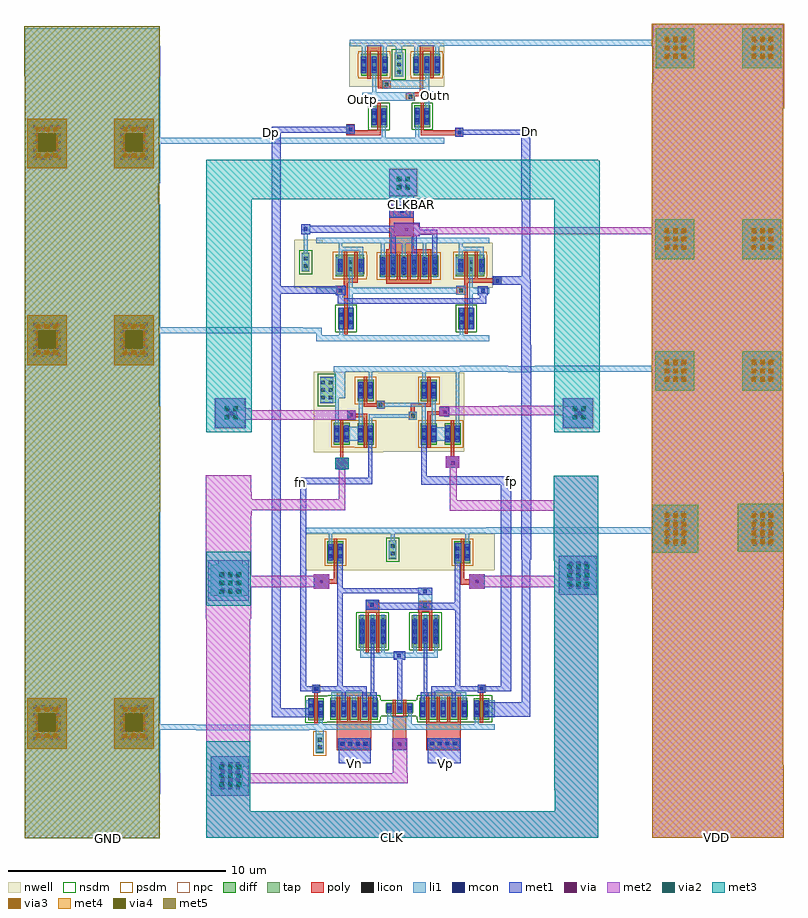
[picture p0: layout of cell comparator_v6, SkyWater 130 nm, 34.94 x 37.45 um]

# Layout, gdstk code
import gdstk
lib = gdstk.Library(unit=1e-6, precision=1e-09)
def R(c, l, rs):  # rectangles x0, y0, x1, y1
    for r in rs: c.add(gdstk.rectangle(r[:2], r[2:], *l))
def A(c, l, x, y, w, h, nx, ny, dx, dy):  # array of equal rectangles
    R(c, l, [(x+i*dx, y+j*dy, x+i*dx+w, y+j*dy+h) for i in range(nx) for j in range(ny)])
nwell = (64, 20)
diff = (65, 20)
tap = (65, 44)
poly = (66, 20)
licon = (66, 44)
li1 = (67, 20)
mcon = (67, 44)
met1 = (68, 20)
via = (68, 44)
met2 = (69, 20)
via2 = (69, 44)
met3 = (70, 20)
via3 = (70, 44)
met4 = (71, 20)
via4 = (71, 44)
met5 = (72, 20)
nsdm = (93, 44)
psdm = (94, 20)
npc = (95, 20)

sky130_fd_pr__pfet_01v8_ = lib.new_cell('sky130_fd_pr__pfet_01v8_RFM3CD#0')
R(sky130_fd_pr__pfet_01v8_, nwell, [(-0.545,-0.81,0.545,0.81)])
R(sky130_fd_pr__pfet_01v8_, diff, [(-0.365,-0.5,0.365,0.5)])
R(sky130_fd_pr__pfet_01v8_, poly, [(-0.075,-0.63,0.075,0.63)])
R(sky130_fd_pr__pfet_01v8_, licon, [(-0.305,-0.255,-0.135,-0.085), (0.135,-0.255,0.305,-0.085), (-0.305,0.085,-0.135,0.255), (0.135,0.085,0.305,0.255)])
R(sky130_fd_pr__pfet_01v8_, li1, [(-0.305,-0.39,-0.135,0.39), (0.135,-0.39,0.305,0.39)])
R(sky130_fd_pr__pfet_01v8_, mcon, [(-0.305,-0.265,-0.135,-0.095), (0.135,-0.265,0.305,-0.095), (-0.305,0.095,-0.135,0.265), (0.135,0.095,0.305,0.265)])
R(sky130_fd_pr__pfet_01v8_, met1, [(-0.335,-0.37,-0.105,0.37), (0.105,-0.37,0.335,0.37)])
R(sky130_fd_pr__pfet_01v8_, psdm, [(-0.49,-0.625,0.49,0.625)])

sky130_fd_pr__nfet_01v8_ = lib.new_cell('sky130_fd_pr__nfet_01v8_XJTKXQ#0#0')

preamp_part22 = lib.new_cell('preamp_part22')
R(preamp_part22, nwell, [(1.48,1.51,5.49,1.53), (0.39,1.53,5.49,3.13), (0.39,3.13,6.58,5.13), (0.39,5.13,5.49,5.14), (0.39,5.14,1.63,5.17)])
R(preamp_part22, poly, [(4.05,2.97,4.38,3.35), (4.12,3.35,4.3,3.57), (2.56,3.5,2.89,3.58), (4.12,3.57,5.02,3.72), (1.96,3.58,2.89,3.74), (2.56,3.74,2.89,3.83)])
R(preamp_part22, licon, [(4.125,3.07,4.295,3.24), (2.64,3.58,2.81,3.75)])
R(preamp_part22, li1, [(1.07,2.01,1.9,2.65), (5.08,2.01,5.9,2.63), (4.62,2.56,4.81,3.58), (1.73,2.65,1.9,3.98), (5.08,2.68,5.25,3.95), (2.17,2.69,2.34,3.06), (4.05,2.97,4.38,3.06), (2.17,3.06,4.38,3.23), (4.05,3.23,4.38,3.35), (2.56,3.5,2.89,3.58), (2.56,3.58,4.81,3.75), (2.56,3.75,2.89,3.83), (4.64,4.66,4.81,5.17), (2.17,4.69,2.34,5.17), (0.58,5.17,6.41,5.44)])
R(preamp_part22, psdm, [(5.435,1.695,5.545,2.945), (1.425,1.705,1.545,2.945)])
R(preamp_part22, npc, [(4.025,2.97,4.395,3.34), (2.54,3.48,2.91,3.85)])
preamp_part22.add(gdstk.Reference(sky130_fd_pr__pfet_01v8_, (4.945,4.32)))
preamp_part22.add(gdstk.Reference(sky130_fd_pr__pfet_01v8_, (2.035,4.32)))
preamp_part22.add(gdstk.Reference(sky130_fd_pr__pfet_01v8_, (6.035,2.32)))
preamp_part22.add(gdstk.Reference(sky130_fd_pr__pfet_01v8_, (0.935,2.33)))
preamp_part22.add(gdstk.Reference(sky130_fd_pr__pfet_01v8_, (4.945,2.32)))
preamp_part22.add(gdstk.Reference(sky130_fd_pr__pfet_01v8_, (2.035,2.32)))
preamp_part22.add(gdstk.Reference(sky130_fd_pr__nfet_01v8_, (4.875,1.73)))
preamp_part22.add(gdstk.Reference(sky130_fd_pr__nfet_01v8_, (2.215,1.73)))

c_sky130_fd_pr__nfet_01v8_ = lib.new_cell('sky130_fd_pr__nfet_01v8_RURP52')
R(c_sky130_fd_pr__nfet_01v8_, diff, [(-0.625,-1.74,0.625,-0.24)])
R(c_sky130_fd_pr__nfet_01v8_, poly, [(-0.315,-1.85,-0.165,-0.13), (0.165,-1.85,0.315,-0.13)])
A(c_sky130_fd_pr__nfet_01v8_, licon, -0.565, -1.585, 0.17, 0.17, 3, 4, 0.48, 0.34)
A(c_sky130_fd_pr__nfet_01v8_, li1, -0.565, -1.76, 0.17, 1.54, 3, 1, 0.48, 0)
A(c_sky130_fd_pr__nfet_01v8_, mcon, -0.565, -1.435, 0.17, 0.17, 3, 3, 0.48, 0.36)
A(c_sky130_fd_pr__nfet_01v8_, met1, -0.595, -1.535, 0.23, 1.09, 3, 1, 0.48, 0)
R(c_sky130_fd_pr__nfet_01v8_, nsdm, [(-0.75,-1.865,0.75,-0.115)])

c_sky130_fd_pr__nfet_01v8__ = lib.new_cell('sky130_fd_pr__nfet_01v8_G6PLX8')
R(c_sky130_fd_pr__nfet_01v8__, diff, [(-1.085,-2.5,1.085,-2.37), (-1.105,-2.37,1.105,-1.63), (-1.085,-1.63,1.085,-1.5)])
A(c_sky130_fd_pr__nfet_01v8__, poly, -0.795, -2.61, 0.15, 1.21, 4, 1, 0.48, 0)
R(c_sky130_fd_pr__nfet_01v8__, poly, [(-0.795,-1.4,0.795,-1.25)])
A(c_sky130_fd_pr__nfet_01v8__, licon, -1.045, -2.255, 0.17, 0.17, 5, 2, 0.48, 0.34)
A(c_sky130_fd_pr__nfet_01v8__, li1, -1.045, -2.39, 0.17, 0.78, 5, 1, 0.48, 0)
A(c_sky130_fd_pr__nfet_01v8__, mcon, -1.045, -2.265, 0.17, 0.17, 5, 2, 0.48, 0.36)
A(c_sky130_fd_pr__nfet_01v8__, met1, -1.075, -2.37, 0.23, 0.74, 5, 1, 0.48, 0)
R(c_sky130_fd_pr__nfet_01v8__, nsdm, [(-1.21,-2.625,1.21,-2.495), (-1.23,-2.495,1.23,-1.505), (-1.21,-1.505,1.21,-1.375)])

c_sky130_fd_pr__nfet_01v8___ = lib.new_cell('sky130_fd_pr__nfet_01v8_F5U58G#1')
R(c_sky130_fd_pr__nfet_01v8___, diff, [(-0.365,-2.5,0.365,-1.5)])
R(c_sky130_fd_pr__nfet_01v8___, poly, [(-0.075,-2.63,0.075,-1.37)])
R(c_sky130_fd_pr__nfet_01v8___, licon, [(-0.305,-2.255,-0.135,-2.085), (0.135,-2.255,0.305,-2.085), (-0.305,-1.915,-0.135,-1.745), (0.135,-1.915,0.305,-1.745)])
R(c_sky130_fd_pr__nfet_01v8___, li1, [(-0.305,-2.39,-0.135,-1.61), (0.135,-2.39,0.305,-1.61)])
R(c_sky130_fd_pr__nfet_01v8___, mcon, [(-0.305,-2.265,-0.135,-2.095), (0.135,-2.265,0.305,-2.095), (-0.305,-1.905,-0.135,-1.735), (0.135,-1.905,0.305,-1.735)])
R(c_sky130_fd_pr__nfet_01v8___, met1, [(-0.335,-2.37,-0.105,-1.63), (0.105,-2.37,0.335,-1.63)])
R(c_sky130_fd_pr__nfet_01v8___, nsdm, [(-0.49,-2.625,0.49,-1.375)])

c_sky130_fd_pr__nfet_01v8____ = lib.new_cell('sky130_fd_pr__nfet_01v8_8FHE5N')
R(c_sky130_fd_pr__nfet_01v8____, diff, [(-0.605,-2.25,0.605,-2.195), (-0.625,-2.195,0.625,-1.805), (-0.605,-1.805,0.605,-1.75)])
R(c_sky130_fd_pr__nfet_01v8____, poly, [(-0.315,-2.38,-0.165,-1.62), (0.165,-2.38,0.315,-1.62)])
A(c_sky130_fd_pr__nfet_01v8____, licon, -0.565, -2.085, 0.17, 0.17, 3, 1, 0.48, 0)
A(c_sky130_fd_pr__nfet_01v8____, li1, -0.565, -2.215, 0.17, 0.43, 3, 1, 0.48, 0)
A(c_sky130_fd_pr__nfet_01v8____, mcon, -0.565, -2.085, 0.17, 0.17, 3, 1, 0.48, 0)
A(c_sky130_fd_pr__nfet_01v8____, met1, -0.595, -2.195, 0.23, 0.39, 3, 1, 0.48, 0)
R(c_sky130_fd_pr__nfet_01v8____, nsdm, [(-0.73,-2.375,0.73,-2.32), (-0.75,-2.32,0.75,-1.68), (-0.73,-1.68,0.73,-1.625)])

preamp_part12 = lib.new_cell('preamp_part12')
R(preamp_part12, nwell, [(-3.6,4.97,5.09,6.64)])
A(preamp_part12, poly, 1.94, -2.01, 0.15, 0.03, 4, 1, 0.48, 0)
A(preamp_part12, poly, -2.17, -1.98, 0.15, 0.01, 4, 1, 0.48, 0)
R(preamp_part12, poly, [(-2.17,-3.3,-0.58,-1.98), (1.94,-3.3,3.53,-2.01), (0.4,-3.29,1.03,-1.71), (4.41,-0.83,4.56,-0.65), (-3.2,-0.79,-3.05,-0.66), (-3.28,-0.66,-2.97,-0.29), (4.32,-0.65,4.63,-0.28), (-0.84,1.17,-0.69,1.32), (-0.36,1.18,-0.21,1.33), (1.59,1.28,1.74,1.32), (2.07,1.28,2.22,1.32), (2.07,2.94,2.22,3.07), (1.59,3.01,1.74,3.07), (-0.84,3.02,-0.21,3.6), (1.58,3.07,2.23,3.57), (3.53,4.31,3.9,4.55), (-2.53,4.35,-2.16,4.56), (3.53,4.55,3.69,5.2), (-2.31,4.56,-2.16,5.2)])
A(preamp_part12, licon, -1.97, -3.09, 0.17, 0.17, 4, 1, 0.34, 0)
A(preamp_part12, licon, 2.14, -3.08, 0.17, 0.17, 4, 1, 0.34, 0)
R(preamp_part12, licon, [(0.625,-3.105,0.795,-2.935), (-3.2,-0.56,-3.03,-0.39), (4.4,-0.55,4.57,-0.38), (1.805,3.26,1.975,3.43), (-0.635,3.3,-0.465,3.47)])
R(preamp_part12, li1, [(0.39,-3.3,1.03,-2.76), (-2.11,-3.26,-0.64,-2.75), (1.99,-3.25,3.48,-2.74), (-3.6,-2.37,5.1,-2.11), (-2.99,-2.11,-2.82,-1.74), (0.15,-2.11,1.28,-1.76), (4.18,-2.11,4.35,-1.73), (4.77,-1.79,5.1,-1.01), (-3.59,-1.78,-3.26,-1), (0.15,-1.76,0.33,-1.56), (1.11,-1.76,1.28,-1.57), (0.61,-1.565,0.83,-1.26), (-2.42,-1.06,-2.25,-0.81), (-0.5,-1.05,-0.33,-0.81), (1.69,-1.04,1.86,-0.81), (3.61,-1.04,3.78,-0.81), (-1.46,-1.03,-1.29,-0.81), (2.65,-1.03,2.82,-0.81), (-2.42,-0.81,-0.33,-0.64), (1.69,-0.81,3.78,-0.64), (-3.28,-0.66,-2.97,-0.29), (4.32,-0.65,4.63,-0.28), (0.46,0.9,0.91,0.96), (-1.09,0.96,2.47,1.17), (-1.09,1.17,-0.92,2.74), (-0.13,1.17,0.04,2.73), (0.46,1.17,0.91,1.21), (1.34,1.17,1.51,1.4), (2.3,1.17,2.47,1.48), (1.58,3.17,2.23,3.18), (1.57,3.18,2.23,3.57), (-0.82,3.19,-0.28,3.58), (1.57,3.57,2.21,4.16), (-2.54,6.04,-2.37,6.68), (3.74,6.05,3.91,6.68), (-3.6,6.68,5.1,6.93)])
A(preamp_part12, mcon, -2, -3.085, 0.17, 0.17, 4, 1, 0.36, 0)
A(preamp_part12, mcon, 2.11, -3.08, 0.17, 0.17, 4, 1, 0.36, 0)
R(preamp_part12, mcon, [(0.63,-3.105,0.8,-2.935), (-3.205,-0.56,-3.035,-0.39), (4.395,-0.55,4.565,-0.38), (0.605,0.965,0.775,1.135), (-0.63,3.295,-0.46,3.465), (1.805,3.92,1.975,4.09)])
R(preamp_part12, met1, [(0.39,-3.29,1.03,-2.76), (-2.11,-3.27,-0.64,-2.75), (1.99,-3.25,3.48,-2.74), (0.6,-1.42,0.83,0.86), (-0.52,-1.31,-0.33,-0.82), (-0.99,-1.25,-0.8,-0.58), (-1.95,-1.23,-1.76,-0.58), (1.69,-1.1,1.87,-0.81), (2.17,-1.06,2.35,-0.58), (-3.46,-1.05,-3.24,-0.94), (3.12,-1.04,3.3,-0.58), (-0.64,-0.82,-0.33,-0.64), (1.69,-0.81,2.03,-0.64), (-3.28,-0.66,-2.97,-0.58), (4.32,-0.65,4.63,-0.58), (-0.61,-0.64,-0.44,2.34), (1.82,-0.64,1.99,1.75), (-3.59,-0.58,-0.8,-0.37), (2.17,-0.58,5.1,-0.37), (-3.28,-0.37,-2.97,-0.29), (-2.15,-0.37,-0.8,-0.35), (3.27,-0.37,3.51,3.25), (4.32,-0.37,4.63,-0.28), (-2.15,-0.35,-1.9,3.91), (0.44,0.86,0.97,1.25), (-0.84,3.15,-0.23,3.25), (-0.84,3.25,3.51,3.49), (-0.84,3.49,-0.23,3.61), (3.27,3.49,3.51,5.66), (1.57,3.85,2.21,3.91), (-2.15,3.91,2.21,4.05), (-2.14,4.05,2.21,4.15), (-2.14,4.15,-1.9,5.52), (1.57,4.15,2.21,4.16)])
R(preamp_part12, nsdm, [(-2.635,-2.015,-2.585,-1.885), (3.945,-2.015,3.995,-1.885), (-2.635,-1.885,-2.605,-0.895), (3.965,-1.885,3.995,-0.895), (-0.145,-1.745,-0.015,-1.69), (1.445,-1.745,1.505,-1.69), (-0.145,-1.69,-0.035,-1.05), (1.465,-1.69,1.505,-1.05), (-0.145,-1.05,-0.015,-0.995), (1.445,-1.05,1.505,-0.995), (-2.635,-0.895,-2.585,-0.795), (3.945,-0.895,3.995,-0.775)])
R(preamp_part12, npc, [(0.525,-3.205,0.895,-2.835), (-2.07,-3.19,-0.68,-2.82), (2.04,-3.18,3.43,-2.81), (-3.3,-0.66,-2.93,-0.29), (4.3,-0.65,4.67,-0.28), (1.705,3.16,2.075,3.53), (-0.735,3.2,-0.365,3.57)])
preamp_part12.add(gdstk.Reference(sky130_fd_pr__pfet_01v8_, (3.605,5.8)))
preamp_part12.add(gdstk.Reference(sky130_fd_pr__pfet_01v8_, (-2.235,5.8)))
preamp_part12.add(gdstk.Reference(c_sky130_fd_pr__nfet_01v8_, (1.905,3.15)))
preamp_part12.add(gdstk.Reference(c_sky130_fd_pr__nfet_01v8_, (-0.525,3.15)))
preamp_part12.add(gdstk.Reference(c_sky130_fd_pr__nfet_01v8__, (2.735,0.61)))
preamp_part12.add(gdstk.Reference(c_sky130_fd_pr__nfet_01v8__, (-1.375,0.61)))
preamp_part12.add(gdstk.Reference(c_sky130_fd_pr__nfet_01v8___, (4.485,0.6)))
preamp_part12.add(gdstk.Reference(c_sky130_fd_pr__nfet_01v8___, (-3.125,0.58)))
preamp_part12.add(gdstk.Reference(c_sky130_fd_pr__nfet_01v8____, (0.715,0.63)))

c_sky130_fd_pr__pfet_01v8_ = lib.new_cell('sky130_fd_pr__pfet_01v8_GJYUB2')
R(c_sky130_fd_pr__pfet_01v8_, nwell, [(-1.525,-1,1.525,-0.99), (-1.525,-0.99,-1.355,-0.64), (1.495,-0.99,1.525,-0.64), (-1.525,-0.64,1.525,0.65), (-1.525,0.65,-1.235,0.81), (1.485,0.65,1.525,0.81)])
R(c_sky130_fd_pr__pfet_01v8_, diff, [(-1.345,-0.5,1.345,0.5)])
A(c_sky130_fd_pr__pfet_01v8_, poly, -1.035, -0.64, 0.15, 1.27, 3, 1, 0.96, 0)
R(c_sky130_fd_pr__pfet_01v8_, poly, [(-0.555,-0.63,-0.405,0.65), (0.405,-0.63,0.555,0.65)])
A(c_sky130_fd_pr__pfet_01v8_, licon, -1.285, -0.425, 0.17, 0.17, 6, 3, 0.48, 0.34)
A(c_sky130_fd_pr__pfet_01v8_, li1, -1.285, -0.52, 0.17, 1.04, 6, 1, 0.48, 0)
A(c_sky130_fd_pr__pfet_01v8_, mcon, -1.285, -0.265, 0.17, 0.17, 6, 2, 0.48, 0.36)
A(c_sky130_fd_pr__pfet_01v8_, met1, -1.315, -0.37, 0.23, 0.74, 6, 1, 0.48, 0)
R(c_sky130_fd_pr__pfet_01v8_, psdm, [(-1.47,-0.625,1.47,0.625)])

pmos_2uf2_0 = lib.new_cell('pmos_2uf2#0')
R(pmos_2uf2_0, nwell, [(-1.595,-1.01,0.845,1.02)])
R(pmos_2uf2_0, diff, [(-0.695,-0.5,0.605,-0.37), (-0.695,-0.37,0.625,0.37), (-0.695,0.37,0.605,0.5)])
R(pmos_2uf2_0, poly, [(-0.315,-0.65,-0.165,0.63), (0.165,-0.65,0.315,0.63)])
A(pmos_2uf2_0, licon, -0.565, -0.255, 0.17, 0.17, 3, 2, 0.48, 0.34)
R(pmos_2uf2_0, li1, [(-0.695,-0.39,-0.395,0.39), (-0.085,-0.39,0.085,0.39), (0.395,-0.39,0.565,0.39)])
R(pmos_2uf2_0, mcon, [(-0.565,-0.085,-0.395,0.085), (0.395,-0.085,0.565,0.085)])
R(pmos_2uf2_0, met1, [(-0.595,-0.28,-0.365,0.28), (0.365,-0.28,0.595,0.28)])
R(pmos_2uf2_0, psdm, [(-0.82,-0.625,0.73,-0.495), (-0.82,-0.495,0.75,0.495), (-0.82,0.495,0.73,0.625)])

c_sky130_fd_pr__nfet_01v8_____ = lib.new_cell('sky130_fd_pr__nfet_01v8_7RYEVP')
R(c_sky130_fd_pr__nfet_01v8_____, diff, [(-0.365,-0.345,0.365,0.655)])
R(c_sky130_fd_pr__nfet_01v8_____, poly, [(-0.075,-0.445,0.075,0.785)])
R(c_sky130_fd_pr__nfet_01v8_____, licon, [(-0.305,-0.1,-0.135,0.07), (0.135,-0.1,0.305,0.07), (-0.305,0.24,-0.135,0.41), (0.135,0.24,0.305,0.41)])
R(c_sky130_fd_pr__nfet_01v8_____, li1, [(-0.305,-0.285,-0.135,0.595), (0.135,-0.285,0.305,0.595)])
R(c_sky130_fd_pr__nfet_01v8_____, mcon, [(-0.305,-0.11,-0.135,0.06), (0.135,-0.11,0.305,0.06), (-0.305,0.25,-0.135,0.42), (0.135,0.25,0.305,0.42)])
R(c_sky130_fd_pr__nfet_01v8_____, met1, [(-0.335,-0.345,-0.105,0.655), (0.105,-0.345,0.335,0.655)])
R(c_sky130_fd_pr__nfet_01v8_____, nsdm, [(-0.49,-0.47,0.49,0.78)])

nmos_1u_0 = lib.new_cell('nmos_1u#0')
nmos_1u_0.add(gdstk.Reference(c_sky130_fd_pr__nfet_01v8_____, (0.315,0.715)))

inv_w12 = lib.new_cell('inv_W12')
R(inv_w12, poly, [(0.8,0.31,0.95,0.34), (0.8,1.21,0.95,1.76), (0.42,1.76,0.95,2.18), (0.78,2.18,0.95,2.33), (0.78,2.33,1.41,2.53)])
R(inv_w12, licon, [(0.54,1.88,0.71,2.05)])
R(inv_w12, li1, [(-0.5,-0.36,1.94,-0.1), (0.57,-0.1,0.74,0.58), (1.01,1.3,1.18,1.82), (0.42,1.76,0.84,1.82), (-0.5,1.82,0.84,2.1), (1.01,1.82,1.94,2.1), (0.42,2.1,0.84,2.18), (1.01,2.1,1.18,2.78), (0.53,2.89,0.7,3.79), (1.49,3.42,1.67,3.79), (0.53,3.79,1.67,3.97), (0.53,3.97,0.7,4.14), (-0.5,4.14,1.94,4.39)])
R(inv_w12, npc, [(0.44,1.78,0.81,2.15)])
inv_w12.add(gdstk.Reference(pmos_2uf2_0, (1.095,3.11)))
inv_w12.add(gdstk.Reference(nmos_1u_0, (0.56,-0.19)))
inv_w12.add(gdstk.Label('Vin', (-0.5,1.95), layer=67, texttype=5))
inv_w12.add(gdstk.Label('Vout', (1.94,1.96), layer=67, texttype=5))
inv_w12.add(gdstk.Label('VDD', (-0.5,4.27), layer=67, texttype=5))
inv_w12.add(gdstk.Label('GND', (-0.5,-0.23), layer=67, texttype=5))

latch_3 = lib.new_cell('latch_3')
R(latch_3, nwell, [(-0.08,2.46,8.13,2.76), (-0.08,2.76,5.89,4.19), (6.24,2.76,8.13,4.19), (-0.08,4.19,8.13,4.51)])
R(latch_3, poly, [(1.3,0.32,1.45,0.49), (6.83,0.33,6.98,0.46), (3.23,2.64,5.3,2.82), (3.23,4.04,5.3,4.22)])
A(latch_3, li1, 2.98, 3.73, 0.17, 0.77, 3, 1, 0.96, 0)
R(latch_3, li1, [(2.37,0,5.72,0.26), (1.51,1.22,1.68,1.74), (7.04,1.27,7.21,1.88), (0.96,2.17,1.29,2.49), (2.4,2.18,5.6,2.46), (7.52,2.19,7.82,2.44), (2.26,4.5,5.7,4.75)])
R(latch_3, mcon, [(7.585,2.23,7.755,2.4), (1.04,2.245,1.21,2.415)])
A(latch_3, met1, 3.43, 3.67, 0.23, 1.22, 3, 1, 0.96, 0)
R(latch_3, met1, [(0.99,1.71,7.83,1.96), (0.99,1.96,1.25,2.1), (7.52,1.96,7.83,2.1), (0.9,2.1,1.36,2.55), (7.43,2.1,7.89,2.53), (3.43,4.89,5.58,5.11)])
latch_3.add(gdstk.Reference(c_sky130_fd_pr__pfet_01v8_, (4.265,3.45)))
latch_3.add(gdstk.Reference(inv_w12, (0.5,0.36)))
latch_3.add(gdstk.Reference(inv_w12, (6.03,0.36)))

c_sky130_fd_pr__pfet_01v8__ = lib.new_cell('sky130_fd_pr__pfet_01v8_AC5E9B')
R(c_sky130_fd_pr__pfet_01v8__, nwell, [(-0.805,-1,0.325,-0.81), (-0.805,-0.81,0.805,0.81), (-0.325,0.81,0.805,1)])
R(c_sky130_fd_pr__pfet_01v8__, diff, [(-0.605,-0.5,0.605,-0.37), (-0.625,-0.37,0.625,0.37), (-0.605,0.37,0.605,0.5)])
R(c_sky130_fd_pr__pfet_01v8__, poly, [(-0.315,-0.65,-0.165,0.63), (0.165,-0.63,0.315,0.65)])
A(c_sky130_fd_pr__pfet_01v8__, licon, -0.565, -0.255, 0.17, 0.17, 3, 2, 0.48, 0.34)
A(c_sky130_fd_pr__pfet_01v8__, li1, -0.565, -0.39, 0.17, 0.78, 3, 1, 0.48, 0)
A(c_sky130_fd_pr__pfet_01v8__, mcon, -0.565, -0.265, 0.17, 0.17, 3, 2, 0.48, 0.36)
A(c_sky130_fd_pr__pfet_01v8__, met1, -0.595, -0.37, 0.23, 0.74, 3, 1, 0.48, 0)
R(c_sky130_fd_pr__pfet_01v8__, psdm, [(-0.73,-0.625,0.73,-0.495), (-0.75,-0.495,0.75,0.495), (-0.73,0.495,0.73,0.625)])

c_sky130_fd_pr__nfet_01v8______ = lib.new_cell('sky130_fd_pr__nfet_01v8_F5U58G')
R(c_sky130_fd_pr__nfet_01v8______, diff, [(-0.365,-0.5,0.365,0.5)])
R(c_sky130_fd_pr__nfet_01v8______, poly, [(-0.075,-0.63,0.075,0.63)])
R(c_sky130_fd_pr__nfet_01v8______, licon, [(-0.305,-0.255,-0.135,-0.085), (0.135,-0.255,0.305,-0.085), (-0.305,0.085,-0.135,0.255), (0.135,0.085,0.305,0.255)])
R(c_sky130_fd_pr__nfet_01v8______, li1, [(-0.305,-0.39,-0.135,0.39), (0.135,-0.39,0.305,0.39)])
R(c_sky130_fd_pr__nfet_01v8______, mcon, [(-0.305,-0.265,-0.135,-0.095), (0.135,-0.265,0.305,-0.095), (-0.305,0.095,-0.135,0.265), (0.135,0.095,0.305,0.265)])
R(c_sky130_fd_pr__nfet_01v8______, met1, [(-0.335,-0.37,-0.105,0.37), (0.105,-0.37,0.335,0.37)])
R(c_sky130_fd_pr__nfet_01v8______, nsdm, [(-0.49,-0.625,0.49,0.625)])

sr_latch = lib.new_cell('SR_latch')
R(sr_latch, nwell, [(0,2.62,4.36,4.63)])
R(sr_latch, poly, [(2.59,1.96,3.01,2.17), (2.59,2.17,3.39,2.37), (3.24,2.37,3.39,3.03), (1.31,2.54,1.9,2.88), (1.31,2.88,1.46,3.05), (0.83,4.24,1.46,4.51), (3.24,4.24,3.87,4.51)])
R(sr_latch, licon, [(2.72,2.065,2.89,2.235), (1.62,2.63,1.79,2.8)])
R(sr_latch, li1, [(0,0,4.36,0.26), (1.49,0.26,1.68,0.92), (3.03,0.26,3.22,0.97), (1.06,1.36,1.24,1.96), (3.48,1.58,3.66,2.52), (1.06,1.96,2.99,2.35), (1.06,2.35,1.24,3.26), (1.53,2.52,3.66,2.92), (3.48,2.92,3.66,3.48), (2.98,3.83,3.16,4.48), (3.95,3.84,4.13,4.48), (0.57,3.87,0.76,4.48), (1.54,3.88,1.72,4.48), (0.01,4.48,4.36,4.74)])
R(sr_latch, npc, [(2.62,1.965,2.99,2.335), (1.52,2.53,1.89,2.9)])
sr_latch.add(gdstk.Reference(c_sky130_fd_pr__pfet_01v8__, (3.555,3.63)))
sr_latch.add(gdstk.Reference(c_sky130_fd_pr__pfet_01v8__, (1.145,3.62)))
sr_latch.add(gdstk.Reference(c_sky130_fd_pr__nfet_01v8______, (3.345,1.25)))
sr_latch.add(gdstk.Reference(c_sky130_fd_pr__nfet_01v8______, (1.365,1.24)))
sr_latch.add(gdstk.Label('VDD', (4.36,4.67), layer=67, texttype=5))
sr_latch.add(gdstk.Label('GND', (4.35,0.13), layer=67, texttype=5))

comparator_v6 = lib.new_cell('comparator_v6')
R(comparator_v6, nwell, [(3.67,2.87,4.33,4.13), (0.32,8.08,3.53,8.28), (0.32,8.28,1.32,8.4), (1.95,8.28,2.23,8.31), (1.95,8.31,3.28,8.4), (0.32,8.4,3.28,9.61), (5.55,9.51,5.7,9.8), (0.32,9.61,1.96,9.66), (2.32,9.61,3.28,9.97), (0.32,9.66,1.67,9.9), (6.1,9.67,6.58,9.8), (5.55,9.8,6.58,9.82), (5.55,9.82,6.55,9.96), (0.32,9.9,1.96,9.97), (6.1,9.96,6.55,10.04), (0.32,9.97,3.28,11.52), (6.1,10.04,6.58,10.23), (0.32,11.52,1.79,11.77), (2.2,11.52,3.28,11.77), (0.32,11.77,3.28,11.78), (0.32,11.78,1.59,11.79), (-0.57,15.65,0.64,15.74), (-0.57,15.74,8.43,17.56), (-0.57,17.56,0.74,17.84), (3.91,25.26,4.7,26.68)])
R(comparator_v6, tap, [(0.43,-5.75,0.79,-4.87), (3.79,3.17,4.13,4.03), (0.63,10.32,1.22,11.56), (-0.21,16.38,0.13,17.24), (4.05,25.33,4.44,26.47)])
R(comparator_v6, poly, [(0.34,1.8,1.04,2.48), (7.48,1.8,8.18,1.99), (7.35,1.99,8.18,2.23), (7.48,2.23,8.18,2.48), (1.33,7.29,1.94,7.83), (6.41,7.36,7.02,7.9), (1.54,7.83,1.69,8.38), (6.64,7.9,6.79,8.3), (5.55,8.28,5.7,8.31), (2.64,8.31,2.79,8.32), (2.64,9.33,2.79,9.69), (5.55,9.51,5.7,9.8), (1.9,9.61,2.26,9.69), (1.9,9.69,2.79,9.85), (6.18,9.76,6.54,9.8), (5.55,9.8,6.54,9.96), (1.9,9.85,2.26,9.97), (6.18,9.96,6.54,10.12), (1.74,13.51,1.89,13.66), (7.27,13.55,7.42,13.67), (8.61,15.78,8.96,15.88), (7.83,15.88,8.96,16.08), (8.61,16.08,8.96,16.15), (3.8,17.39,4.92,19.45), (6.84,22.59,7.21,22.66), (1.83,22.66,3.41,22.89), (5.24,22.66,7.21,22.89), (1.83,22.89,2.21,23.15), (6.84,22.89,7.21,23), (3.26,24.06,3.41,24.1)])
A(comparator_v6, licon, 0.67, 10.515, 0.17, 0.17, 1, 3, 0, 0.34)
A(comparator_v6, licon, 1.01, 10.515, 0.17, 0.17, 1, 3, 0, 0.34)
A(comparator_v6, licon, 4.16, 25.475, 0.17, 0.17, 1, 3, 0, 0.34)
R(comparator_v6, licon, [(0.525,-5.565,0.695,-5.395), (0.525,-5.225,0.695,-5.055), (0.605,2.05,0.775,2.22), (7.745,2.05,7.915,2.22), (3.875,3.345,4.045,3.515), (3.875,3.685,4.045,3.855), (1.54,7.47,1.71,7.64), (6.625,7.48,6.795,7.65), (1.985,9.69,2.155,9.86), (6.265,9.84,6.435,10.01), (8.7,15.88,8.87,16.05), (-0.125,16.555,0.045,16.725), (-0.125,16.895,0.045,17.065), (4.305,19.08,4.475,19.25), (6.94,22.695,7.11,22.865), (1.94,22.825,2.11,22.995)])
R(comparator_v6, li1, [(-12.96,-9.67,-6.75,-7.65), (15.9,-9.65,21.93,-6.29), (-4.4,-7.71,-2.65,-7.24), (-12.96,-7.65,-6.73,-4.69), (-4.4,-7.24,-2.94,-6.38), (-4.4,-6.38,-2.65,-5.89), (15.9,-6.29,21.92,0.83), (0.43,-5.71,0.79,-4.62), (-5.08,-4.7,0.13,-4.69), (-12.96,-4.69,0.13,-4.44), (0.6,-4.62,0.79,-4.48), (-12.96,-4.44,-5.08,-4.43), (-12.96,-4.43,-6.73,13.55), (15.89,0.83,21.94,1.8), (-4.06,1.46,-2.94,1.47), (-4.4,1.47,-2.65,2.91), (11.6,1.52,13.35,1.7), (11.59,1.7,13.35,1.99), (0.34,1.8,1.04,2.48), (7.48,1.8,8.18,2.48), (15.87,1.8,21.94,4.33), (11.6,1.99,13.35,3.33), (-4.06,2.91,-2.94,3.12), (3.79,3.21,4.13,3.99), (3.86,3.99,4.05,4.52), (14.11,4.33,21.94,4.34), (8.25,4.34,21.94,4.62), (8.25,4.62,10.87,4.63), (15.87,4.62,21.94,7.16), (15.87,7.16,21.92,11.78), (1.33,7.29,1.94,7.83), (6.41,7.36,6.58,7.39), (6.81,7.36,7.02,7.39), (6.41,7.39,7.02,7.9), (-4.19,9.19,-2.8,9.58), (6.85,9.19,7.02,11.89), (11.81,9.19,13.19,9.72), (1.31,9.29,1.48,10.36), (-4.19,9.58,-3.22,10), (1.93,9.58,2.24,10), (6.33,9.72,6.55,9.73), (12.32,9.72,13.19,10.16), (6.1,9.73,6.55,10.15), (-4.19,10,-2.8,10.57), (6.33,10.15,6.55,10.16), (11.81,10.16,13.19,10.57), (0.63,10.36,1.48,10.55), (0.63,10.55,1.79,11.52), (1.27,11.52,1.79,11.77), (9.27,11.76,10.29,11.77), (1.27,11.77,2.18,11.93), (7.04,11.77,15.64,11.78), (7.04,11.78,21.92,12.04), (1.72,11.93,2.18,12.04), (7.04,12.04,9.27,12.05), (10.49,12.04,21.92,12.05), (15.67,12.05,21.92,12.06), (15.87,12.06,21.92,25.05), (0.44,13.34,0.73,13.44), (0.44,13.44,0.69,13.55), (-6.16,13.54,-1.85,13.55), (-12.96,13.55,0.69,13.81), (-12.96,13.81,-0.17,13.82), (-12.96,13.82,-6.73,19.48), (8.62,15.8,8.95,16.13), (-0.21,16.42,0.13,17.2), (-0.14,17.2,0.05,18.11), (-0.25,18.11,0.16,18.55), (3.99,18.89,4.77,19.46), (-12.96,19.48,-6.81,20.45), (-12.96,20.45,-6.73,22.27), (-12.96,22.27,2.12,22.54), (-12.96,22.54,-6.73,26.76), (6.84,22.59,7.21,23), (1.84,22.72,2.21,23.13), (2.57,24.26,3.88,24.6), (5.45,24.31,5.95,24.68), (15.94,25.05,21.92,26.76), (4.05,25.37,4.44,26.43), (4.11,26.43,4.4,26.87), (-12.96,26.76,-6.75,27.57), (5.74,26.76,21.92,26.99), (1.98,26.99,21.92,27.04), (13.06,27.04,21.92,27.05), (15.93,27.05,21.92,27.07), (15.94,27.07,21.92,27.78)])
A(comparator_v6, mcon, -3.95, -7.42, 0.17, 0.17, 3, 4, 0.36, 0.36)
A(comparator_v6, mcon, -12.56, -5.16, 0.17, 0.17, 4, 5, 0.36, 0.36)
A(comparator_v6, mcon, -8.56, -5.16, 0.17, 0.17, 4, 5, 0.36, 0.36)
A(comparator_v6, mcon, -3.95, 1.62, 0.17, 0.17, 3, 3, 0.36, 0.36)
A(comparator_v6, mcon, 12.05, 1.8, 0.17, 0.17, 3, 4, 0.36, 0.36)
A(comparator_v6, mcon, 16.515, 3.765, 0.17, 0.17, 3, 5, 0.36, 0.36)
A(comparator_v6, mcon, 20.515, 3.765, 0.17, 0.17, 3, 5, 0.36, 0.36)
A(comparator_v6, mcon, 16.515, 11.375, 0.17, 0.17, 3, 3, 0.36, 0.36)
A(comparator_v6, mcon, 20.515, 11.375, 0.17, 0.17, 3, 3, 0.36, 0.36)
A(comparator_v6, mcon, -12.56, 12.46, 0.17, 0.17, 4, 5, 0.36, 0.36)
A(comparator_v6, mcon, -8.56, 12.46, 0.17, 0.17, 4, 5, 0.36, 0.36)
A(comparator_v6, mcon, 16.515, 17.435, 0.17, 0.17, 3, 3, 0.36, 0.36)
A(comparator_v6, mcon, 20.515, 17.435, 0.17, 0.17, 3, 3, 0.36, 0.36)
A(comparator_v6, mcon, -12.56, 21.52, 0.17, 0.17, 4, 5, 0.36, 0.36)
A(comparator_v6, mcon, -8.56, 21.52, 0.17, 0.17, 4, 5, 0.36, 0.36)
A(comparator_v6, mcon, 16.515, 26.225, 0.17, 0.17, 3, 3, 0.36, 0.36)
A(comparator_v6, mcon, 20.515, 26.225, 0.17, 0.17, 3, 3, 0.36, 0.36)
R(comparator_v6, mcon, [(0.605,2.05,0.775,2.22), (7.745,2.05,7.915,2.22), (1.54,7.47,1.71,7.64), (6.64,7.49,6.81,7.66), (1.985,9.69,2.155,9.86), (-3.535,9.78,-3.365,9.95), (12.465,9.78,12.635,9.95), (6.255,9.84,6.425,10.01), (8.695,15.88,8.865,16.05), (-0.13,18.255,0.04,18.425), (4.305,19.08,4.475,19.25), (6.94,22.695,7.11,22.865), (1.94,22.825,2.11,22.995)])
R(comparator_v6, met1, [(-4.41,-7.71,-2.65,-5.89), (1.48,-6.21,2.95,-5.09), (5.58,-6.21,7.08,-5.07), (4.06,-5.58,4.55,-5.14), (-12.85,-5.55,-11.02,-3.24), (-8.85,-5.55,-7.02,-3.24), (-1.59,-4.1,0.33,-3.68), (8.17,-4.09,10.28,-3.41), (-1.59,-3.68,-1.19,15.37), (9.89,-3.41,10.28,3.13), (-0.29,-2.9,-0.01,6.6), (8.6,-2.9,9.41,-2.69), (6.78,-2.76,7.11,-2.69), (6.78,-2.69,7.07,-2.68), (8.93,-2.69,9.41,1.8), (6.83,-2.68,7.07,0.82), (6.78,0.82,7.07,0.83), (2.72,0.83,7.07,1.17), (6.79,1.17,7.07,1.18), (6.82,1.18,7.07,3), (-4.53,1.24,-2.66,1.47), (-4.53,1.47,-2.65,2.91), (11.59,1.52,13.35,3.33), (0.34,1.8,1.04,2.48), (7.48,1.8,8.19,2.48), (8.92,1.8,9.41,2.48), (8.93,2.48,9.41,6.58), (-4.53,2.91,-2.66,3.11), (6.82,3,7.11,3.9), (9.88,3.13,10.32,13), (15.89,3.46,18,5.67), (19.83,3.51,21.94,5.72), (5.28,6.58,9.41,6.97), (-0.29,6.6,3.03,6.91), (2.83,6.91,3.03,8.9), (5.28,6.97,5.52,8.67), (1.33,7.29,1.94,7.83), (6.41,7.36,7.02,7.9), (-4.23,9.19,-2.79,10.56), (11.77,9.19,13.19,10.56), (1.87,9.58,2.27,10), (6.1,9.73,6.55,10.16), (16.04,10.91,17.83,12.72), (20.04,10.91,21.83,12.72), (-12.85,12.07,-11.02,14.38), (-8.85,12.07,-7.02,14.38), (9.88,13,10.31,15.78), (-1.59,15.37,1.8,15.7), (-1.59,15.7,-1.19,22.77), (8.57,15.78,10.31,16.03), (8.57,16.03,10.29,16.16), (9.89,16.16,10.29,19.61), (16.04,16.95,17.83,18.78), (20.04,16.95,21.83,18.78), (4.02,18,5.21,18.18), (-0.25,18.11,0.16,18.18), (-0.25,18.18,5.21,18.49), (-0.25,18.49,0.16,18.55), (4.02,18.49,5.21,18.64), (3.8,18.86,4.92,19.84), (9.88,19.61,10.29,22.67), (3.8,19.84,5.09,20.76), (3.81,20.76,5.09,21.11), (-12.85,21.13,-11.02,23.42), (-8.85,21.13,-7.02,23.42), (6.84,22.59,7.21,22.67), (6.84,22.67,10.29,22.9), (1.82,22.71,2.22,22.77), (-1.59,22.77,2.22,23.05), (6.84,22.9,7.21,23), (1.82,23.05,2.22,23.14), (16.05,25.74,17.83,27.57), (20.04,25.74,21.83,27.57)])
A(comparator_v6, via, -3.9, -7.35, 0.15, 0.15, 3, 4, 0.32, 0.32)
A(comparator_v6, via, -12.49, -5.07, 0.15, 0.15, 4, 5, 0.32, 0.32)
A(comparator_v6, via, -8.49, -5.07, 0.15, 0.15, 4, 5, 0.32, 0.32)
A(comparator_v6, via, -3.9, 1.67, 0.15, 0.15, 3, 3, 0.32, 0.32)
A(comparator_v6, via, 12.1, 1.87, 0.15, 0.15, 3, 4, 0.32, 0.32)
A(comparator_v6, via, 16.565, 3.855, 0.15, 0.15, 3, 5, 0.32, 0.32)
A(comparator_v6, via, 20.565, 3.855, 0.15, 0.15, 3, 5, 0.32, 0.32)
A(comparator_v6, via, 16.565, 11.425, 0.15, 0.15, 3, 3, 0.32, 0.32)
A(comparator_v6, via, 20.565, 11.425, 0.15, 0.15, 3, 3, 0.32, 0.32)
A(comparator_v6, via, -12.49, 12.55, 0.15, 0.15, 4, 5, 0.32, 0.32)
A(comparator_v6, via, -8.49, 12.55, 0.15, 0.15, 4, 5, 0.32, 0.32)
A(comparator_v6, via, 16.565, 17.485, 0.15, 0.15, 3, 3, 0.32, 0.32)
A(comparator_v6, via, 20.565, 17.485, 0.15, 0.15, 3, 3, 0.32, 0.32)
A(comparator_v6, via, -12.49, 21.61, 0.15, 0.15, 4, 5, 0.32, 0.32)
A(comparator_v6, via, -8.49, 21.61, 0.15, 0.15, 4, 5, 0.32, 0.32)
A(comparator_v6, via, 16.565, 26.275, 0.15, 0.15, 3, 3, 0.32, 0.32)
A(comparator_v6, via, 20.565, 26.275, 0.15, 0.15, 3, 3, 0.32, 0.32)
R(comparator_v6, via, [(4.23,-5.435,4.38,-5.285), (0.615,2.06,0.765,2.21), (7.755,2.06,7.905,2.21), (1.55,7.485,1.7,7.635), (6.65,7.5,6.8,7.65), (-3.685,9.645,-3.535,9.795), (-3.365,9.645,-3.215,9.795), (12.315,9.645,12.465,9.795), (12.635,9.645,12.785,9.795), (1.995,9.7,2.145,9.85), (6.27,9.85,6.42,10), (-3.685,9.965,-3.535,10.115), (-3.365,9.965,-3.215,10.115), (12.315,9.965,12.465,10.115), (12.635,9.965,12.785,10.115), (4.515,18.235,4.665,18.385), (4.225,20.215,4.375,20.365), (4.545,20.215,4.695,20.365), (4.225,20.535,4.375,20.685), (4.545,20.535,4.695,20.685)])
R(comparator_v6, met2, [(-4.6,-9.65,13.41,-8.43), (15.9,-9.65,21.93,-6.29), (-4.6,-8.43,-2.56,-8.42), (11.4,-8.43,13.41,-8.31), (-4.6,-8.42,-2.58,-8.31), (-4.6,-8.31,-2.59,-7.7), (11.4,-8.31,13.4,-7.44), (-4.6,-7.7,-2.58,-7.13), (11.39,-7.44,13.4,-2.81), (-4.6,-7.13,4.65,-6.68), (-4.6,-6.68,-2.58,-5.86), (3.97,-6.68,4.64,-5.08), (15.9,-6.29,21.92,0.83), (-4.6,-5.86,-2.59,0.42), (-12.85,-5.55,-11.02,-3.24), (-8.85,-5.55,-7.02,-3.24), (11.38,-2.81,13.41,0.01), (11.39,0.01,13.4,1.87), (-4.63,0.42,-2.54,1.87), (15.89,0.83,21.94,1.8), (0.34,1.8,1.04,1.87), (7.48,1.8,8.18,1.87), (15.87,1.8,21.94,7.16), (-4.63,1.87,1.04,2.4), (7.48,1.87,13.4,2.41), (-4.63,2.4,-2.54,5.19), (0.34,2.4,1.04,2.48), (7.48,2.41,8.18,2.48), (11.39,2.41,13.4,3.09), (11.37,3.09,13.42,5.39), (-4.63,5.19,-2.53,5.42), (6.58,5.39,13.42,5.88), (-4.63,5.42,1.78,5.91), (6.58,5.88,6.9,7.36), (11.37,5.88,13.42,6.99), (-4.63,5.91,-2.53,6.25), (1.48,5.91,1.78,7.29), (-4.63,6.25,-2.54,7.02), (15.87,7.16,21.92,18.1), (1.33,7.29,1.94,7.83), (6.41,7.36,7.02,7.9), (-4.19,9.19,-2.81,9.58), (11.81,9.19,13.19,9.78), (-4.19,9.58,1.93,9.59), (-4.19,9.59,2.26,10), (6.1,9.73,6.55,9.77), (6.1,9.77,11.07,9.78), (6.1,9.78,13.19,10.16), (-4.19,10,-2.51,10.11), (-4.19,10.11,-2.81,10.56), (6.15,10.16,13.19,10.19), (8.86,10.19,13.19,10.22), (11.81,10.22,13.19,10.56), (-12.85,12.07,-11.02,14.38), (-8.85,12.07,-7.02,14.38), (4.02,18.01,5.16,18.1), (4.02,18.1,21.92,18.43), (4.02,18.43,5.16,18.59), (15.87,18.43,21.92,25.05), (3.81,19.84,5.09,21.11), (-12.85,21.13,-11.02,23.42), (-8.85,21.13,-7.02,23.42), (15.9,25.05,21.92,27.78)])
A(comparator_v6, via2, -4.005, -7.295, 0.2, 0.2, 3, 3, 0.4, 0.4)
A(comparator_v6, via2, -12.435, -5.055, 0.2, 0.2, 3, 4, 0.4, 0.4)
A(comparator_v6, via2, -8.435, -5.055, 0.2, 0.2, 3, 4, 0.4, 0.4)
A(comparator_v6, via2, -4.005, 1.565, 0.2, 0.2, 3, 3, 0.4, 0.4)
A(comparator_v6, via2, 11.995, 1.925, 0.2, 0.2, 3, 3, 0.4, 0.4)
A(comparator_v6, via2, 16.46, 3.87, 0.2, 0.2, 3, 4, 0.4, 0.4)
A(comparator_v6, via2, 20.46, 3.87, 0.2, 0.2, 3, 4, 0.4, 0.4)
A(comparator_v6, via2, 16.46, 11.32, 0.2, 0.2, 3, 3, 0.4, 0.4)
A(comparator_v6, via2, 20.46, 11.32, 0.2, 0.2, 3, 3, 0.4, 0.4)
A(comparator_v6, via2, -12.435, 12.565, 0.2, 0.2, 3, 4, 0.4, 0.4)
A(comparator_v6, via2, -8.435, 12.565, 0.2, 0.2, 3, 4, 0.4, 0.4)
A(comparator_v6, via2, 16.46, 17.38, 0.2, 0.2, 3, 3, 0.4, 0.4)
A(comparator_v6, via2, 20.46, 17.38, 0.2, 0.2, 3, 3, 0.4, 0.4)
A(comparator_v6, via2, -12.435, 21.625, 0.2, 0.2, 3, 4, 0.4, 0.4)
A(comparator_v6, via2, -8.435, 21.625, 0.2, 0.2, 3, 4, 0.4, 0.4)
A(comparator_v6, via2, 16.46, 26.17, 0.2, 0.2, 3, 3, 0.4, 0.4)
A(comparator_v6, via2, 20.46, 26.17, 0.2, 0.2, 3, 3, 0.4, 0.4)
R(comparator_v6, via2, [(-3.77,9.585,-3.57,9.785), (-3.37,9.585,-3.17,9.785), (12.23,9.585,12.43,9.785), (12.63,9.585,12.83,9.785), (-3.77,9.985,-3.57,10.185), (-3.37,9.985,-3.17,10.185), (12.23,9.985,12.43,10.185), (12.63,9.985,12.83,10.185), (4.155,20.145,4.355,20.345), (4.555,20.145,4.755,20.345), (4.155,20.545,4.355,20.745), (4.555,20.545,4.755,20.745)])
R(comparator_v6, met3, [(-4.6,-9.65,13.42,-8.86), (-4.62,-8.86,13.42,-8.43), (-4.62,-8.43,-2.56,-8.42), (11.4,-8.43,13.42,-7.44), (-4.62,-8.42,-2.58,-6.14), (11.38,-7.44,13.42,-7.41), (11.38,-7.41,13.41,-6.18), (11.38,-6.18,13.42,-2.46), (-4.61,-6.14,-2.58,-5.2), (-12.85,-5.55,-11.02,-3.24), (-8.85,-5.55,-7.02,-3.24), (11.38,-2.46,13.41,-0.46), (11.38,-0.46,13.42,3.09), (-4.56,1.01,-2.59,1.05), (-4.61,1.05,-2.56,3.51), (11.37,3.09,13.42,6.99), (15.89,3.46,18,5.67), (19.83,3.51,21.94,5.72), (1.48,7.27,1.78,7.29), (1.33,7.29,1.94,7.83), (-4.62,9,-2.51,19.71), (11.38,9,13.49,19.71), (16.04,10.91,17.83,12.72), (20.04,10.91,21.83,12.72), (-12.85,12.07,-11.02,14.38), (-8.85,12.07,-7.02,14.38), (16.04,16.95,17.83,18.78), (20.04,16.95,21.83,18.78), (-4.62,19.71,13.49,21.48), (-12.85,21.13,-11.02,23.42), (-8.85,21.13,-7.02,23.42), (-4.62,21.48,13.42,21.52), (16.05,25.74,17.83,27.57), (20.04,25.74,21.83,27.57)])
A(comparator_v6, via3, -12.435, -5.055, 0.2, 0.2, 3, 4, 0.4, 0.4)
A(comparator_v6, via3, -8.435, -5.055, 0.2, 0.2, 3, 4, 0.4, 0.4)
A(comparator_v6, via3, 16.46, 3.87, 0.2, 0.2, 3, 4, 0.4, 0.4)
A(comparator_v6, via3, 20.46, 3.87, 0.2, 0.2, 3, 4, 0.4, 0.4)
A(comparator_v6, via3, 16.46, 11.32, 0.2, 0.2, 3, 3, 0.4, 0.4)
A(comparator_v6, via3, 20.46, 11.32, 0.2, 0.2, 3, 3, 0.4, 0.4)
A(comparator_v6, via3, -12.435, 12.565, 0.2, 0.2, 3, 4, 0.4, 0.4)
A(comparator_v6, via3, -8.435, 12.565, 0.2, 0.2, 3, 4, 0.4, 0.4)
A(comparator_v6, via3, 16.46, 17.38, 0.2, 0.2, 3, 3, 0.4, 0.4)
A(comparator_v6, via3, 20.46, 17.38, 0.2, 0.2, 3, 3, 0.4, 0.4)
A(comparator_v6, via3, -12.435, 21.625, 0.2, 0.2, 3, 4, 0.4, 0.4)
A(comparator_v6, via3, -8.435, 21.625, 0.2, 0.2, 3, 4, 0.4, 0.4)
A(comparator_v6, via3, 16.46, 26.17, 0.2, 0.2, 3, 3, 0.4, 0.4)
A(comparator_v6, via3, 20.46, 26.17, 0.2, 0.2, 3, 3, 0.4, 0.4)
R(comparator_v6, met4, [(15.9,-9.65,21.93,-6.29), (15.9,-6.29,21.92,0.83), (-12.85,-5.55,-11.02,-3.24), (-8.85,-5.55,-7.02,-3.24), (15.89,0.83,21.94,1.8), (15.87,1.8,21.94,7.16), (15.87,7.16,21.92,23.89), (-12.85,12.07,-11.02,14.38), (-8.85,12.07,-7.02,14.38), (-12.85,21.13,-11.02,23.42), (-8.85,21.13,-7.02,23.42), (15.87,23.89,21.95,25.05), (15.89,25.05,21.95,25.27), (15.9,25.27,21.95,26.75), (15.88,26.75,21.95,27.78)])
R(comparator_v6, via4, [(-12.335,-4.755,-11.535,-3.955), (-8.335,-4.755,-7.535,-3.955), (-12.335,12.865,-11.535,13.665), (-8.335,12.865,-7.535,13.665), (-12.335,21.925,-11.535,22.725), (-8.335,21.925,-7.535,22.725)])
R(comparator_v6, met5, [(-12.96,-9.67,-6.75,-6.69), (-12.96,-6.69,-6.77,5.35), (-12.96,5.35,-6.73,10.17), (-12.96,10.17,-6.77,25.36), (-12.99,25.36,-6.75,27.66)])
R(comparator_v6, nsdm, [(3.665,3.045,4.255,4.155), (0.505,10.195,1.345,11.685), (-0.335,16.255,0.255,17.365), (3.925,25.205,4.565,26.595)])
R(comparator_v6, psdm, [(0.305,-5.875,0.915,-4.745)])
R(comparator_v6, npc, [(0.505,1.95,0.875,2.32), (7.645,1.95,8.015,2.32), (1.44,7.37,1.81,7.74), (6.525,7.38,6.895,7.75), (1.885,9.59,2.255,9.96), (6.165,9.74,6.535,10.11), (8.6,15.78,8.97,16.15), (4.205,18.98,4.575,19.35), (6.84,22.595,7.21,22.965), (1.84,22.725,2.21,23.095)])
comparator_v6.add(gdstk.Reference(preamp_part22, (0.68,6.6)))
comparator_v6.add(gdstk.Reference(preamp_part12, (3.56,-2.32)))
comparator_v6.add(gdstk.Reference(latch_3, (0.44,13.19)))
comparator_v6.add(gdstk.Reference(sr_latch, (1.97,22.27)))
comparator_v6.add(gdstk.Label('CLKBAR', (4.83,19.45), layer=66, texttype=5))
comparator_v6.add(gdstk.Label('Outn', (5.95,24.48), layer=67, texttype=5))
comparator_v6.add(gdstk.Label('Outp', (2.57,24.31), layer=67, texttype=5))
comparator_v6.add(gdstk.Label('Vp', (6.4,-6.21), layer=68, texttype=5))
comparator_v6.add(gdstk.Label('Vn', (2.2,-6.21), layer=68, texttype=5))
comparator_v6.add(gdstk.Label('fn', (-0.29,6.69), layer=68, texttype=5))
comparator_v6.add(gdstk.Label('GND', (-9.1,-9.67), layer=72, texttype=5))
comparator_v6.add(gdstk.Label('VDD', (18.85,-9.65), layer=71, texttype=5))
comparator_v6.add(gdstk.Label('CLK', (3.95,-9.65), layer=70, texttype=5))
comparator_v6.add(gdstk.Label('Dn', (10.29,22.81), layer=68, texttype=5))
comparator_v6.add(gdstk.Label('fp', (9.41,6.72), layer=68, texttype=5))
comparator_v6.add(gdstk.Label('Dp', (-1.59,22.79), layer=68, texttype=5))

lib.write_gds('comparator_v6.gds')
